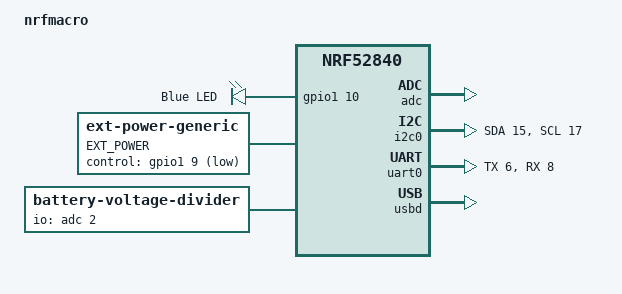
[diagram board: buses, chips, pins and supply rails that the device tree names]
/*
 * Copyright (c) 2020 The ZMK Contributors
 *
 * SPDX-License-Identifier: MIT
 */

/dts-v1/;
#include <nordic/nrf52840_qiaa.dtsi>
#include "arduino_pro_micro_pins.dtsi"

/ {
	model = "nrfmacro";
	compatible = "nrfmacro";

	chosen {
		zephyr,code-partition = &code_partition;
		zephyr,sram = &sram0;
		zephyr,flash = &flash0;
		zephyr,console = &cdc_acm_uart;
		zmk,battery = &vbatt;
		zmk,display = &epd;
	};

	leds {
		compatible = "gpio-leds";
		blue_led: led_0 {
			gpios = <&gpio1 10 GPIO_ACTIVE_HIGH>;
			label = "Blue LED";
		};
	};

	ext-power {
		compatible = "zmk,ext-power-generic";
		label = "EXT_POWER";
		control-gpios = <&gpio1 9 GPIO_ACTIVE_LOW>;
	};

	vbatt: vbatt {
		compatible = "zmk,battery-voltage-divider";
		label = "BATTERY";
		io-channels = <&adc 2>;
		output-ohms = <2000000>;
		full-ohms = <(2000000 + 820000)>;
	};
};

&adc {
	status = "okay";
};

&gpiote {
	status = "okay";
};

&gpio0 {
	status = "okay";
};

&gpio1 {
	status = "okay";
};

&i2c0 {
	compatible = "nordic,nrf-twi";
	sda-pin = <15>;
	scl-pin = <17>;
};

&uart0 {
	compatible = "nordic,nrf-uarte";
	tx-pin = <6>;
	rx-pin = <8>;
};

&usbd {
	status = "okay";
	cdc_acm_uart: cdc_acm_uart {
		compatible = "zephyr,cdc-acm-uart";
		label = "CDC_ACM_0";
	};
};


&flash0 {
	/*
	 * For more information, see:
	 * http://docs.zephyrproject.org/latest/devices/dts/flash_partitions.html
	 */
	partitions {
		compatible = "fixed-partitions";
		#address-cells = <1>;
		#size-cells = <1>;

		sd_partition: partition@0 {
			label = "softdevice";
			reg = <0x00000000 0x00026000>;
		};
		code_partition: partition@26000 {
			label = "code_partition";
			reg = <0x00026000 0x000c6000>;
		};

		/*
		 * The flash starting at 0x000ec000 and ending at
		 * 0x000f3fff is reserved for use by the application.
		 */

		/*
		 * Storage partition will be used by FCB/LittleFS/NVS
		 * if enabled.
		 */
		storage_partition: partition@ec000 {
			label = "storage";
			reg = <0x000ec000 0x00008000>;
		};

		boot_partition: partition@f4000 {
			label = "adafruit_boot";
			reg = <0x000f4000 0x0000c000>;
		};
	};
};

&spi1 {
  /* nrfmacro.dts */
	compatible = "nordic,nrf-spim";
  sck-pin = <22>;
  mosi-pin = <7>;
  cs-gpios = <&gpio1 0 GPIO_ACTIVE_LOW>;
  // not used, but required by spim binding
  miso-pin = <5>;

  /* shield.dtsi */
  status = "disabled";

  // spi-device: gooddisplay GDEW0102T4
  epd: il0323@0 {
    compatible = "gooddisplay,il0323";
    reg = <0>;
    label = "DISPLAY";
    spi-max-frequency = <4000000>;

    height = <128>;
    width = <80>;
    reset-gpios = <&gpio0 12 GPIO_ACTIVE_LOW>;
    dc-gpios    = <&gpio1 2 GPIO_ACTIVE_LOW>;
    busy-gpios  = <&gpio0 26 GPIO_ACTIVE_LOW>;
    pwr = [03 00 26 26];
    cdi = <0xd2>;
    tcon = <0x22>;
  }; 
};

nrfmacro_spi: &spi1 {};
